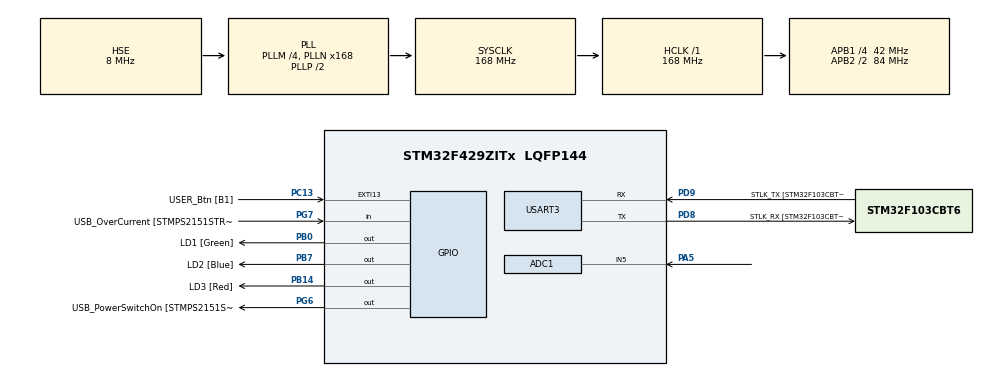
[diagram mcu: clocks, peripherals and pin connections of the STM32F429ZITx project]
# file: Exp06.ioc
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ADC1.Channel-3\#ChannelRegularConversion=ADC_CHANNEL_5
ADC1.NbrOfConversionFlag=1
ADC1.Rank-3\#ChannelRegularConversion=1
ADC1.SamplingTime-3\#ChannelRegularConversion=ADC_SAMPLETIME_3CYCLES
ADC1.master=1
Mcu.Family=STM32F4
Mcu.Name=STM32F429ZITx
Mcu.Package=LQFP144
NVIC.ADC_IRQn=true\:0\:0\:false\:false\:true\:true\:true
NVIC.PriorityGroup=NVIC_PRIORITYGROUP_4
NVIC.USART3_IRQn=true\:1\:0\:true\:false\:true\:true\:true
PA1.GPIO_Label=RMII_REF_CLK [LAN8742A-CZ-TR_REFCLK0]
PA1.Signal=ETH_REF_CLK
PA10.GPIO_Label=USB_ID
PA10.Signal=USB_OTG_FS_ID
PA11.GPIO_Label=USB_DM
PA11.Signal=USB_OTG_FS_DM
PA12.GPIO_Label=USB_DP
PA12.Signal=USB_OTG_FS_DP
PA13.GPIO_Label=TMS
PA13.Mode=Serial_Wire
PA13.Signal=SYS_JTMS-SWDIO
PA14.GPIO_Label=TCK
PA14.Mode=Serial_Wire
PA14.Signal=SYS_JTCK-SWCLK
PA2.GPIO_Label=RMII_MDIO [LAN8742A-CZ-TR_MDIO]
PA2.Signal=ETH_MDIO
PA5.Signal=ADCx_IN5
PA7.GPIO_Label=RMII_CRS_DV [LAN8742A-CZ-TR_CRS_DV]
PA7.Signal=ETH_CRS_DV
PA8.GPIO_Label=USB_SOF [TP1]
PA8.Signal=USB_OTG_FS_SOF
PA9.GPIO_Label=USB_VBUS
PA9.Signal=USB_OTG_FS_VBUS
PB0.GPIO_Label=LD1 [Green]
PB0.Signal=GPIO_Output
PB13.GPIO_Label=RMII_TXD1 [LAN8742A-CZ-TR_TXD1]
PB13.Signal=ETH_TXD1
PB14.GPIO_Label=LD3 [Red]
PB14.Signal=GPIO_Output
PB7.GPIO_Label=LD2 [Blue]
PB7.Signal=GPIO_Output
PC1.GPIO_Label=RMII_MDC [LAN8742A-CZ-TR_MDC]
PC1.Signal=ETH_MDC
PC13.GPIO_Label=USER_Btn [B1]
PC13.Signal=GPXTI13
PC14/OSC32_IN.Mode=LSE-External-Oscillator
PC14/OSC32_IN.Signal=RCC_OSC32_IN
PC15/OSC32_OUT.Mode=LSE-External-Oscillator
PC15/OSC32_OUT.Signal=RCC_OSC32_OUT
PC4.GPIO_Label=RMII_RXD0 [LAN8742A-CZ-TR_RXD0]
PC4.Signal=ETH_RXD0
PC5.GPIO_Label=RMII_RXD1 [LAN8742A-CZ-TR_RXD1]
PC5.Signal=ETH_RXD1
PD8.GPIO_Label=STLK_RX [STM32F103CBT6_PA3]
PD8.Mode=Asynchronous
PD8.Signal=USART3_TX
PD9.GPIO_Label=STLK_TX [STM32F103CBT6_PA2]
PD9.Mode=Asynchronous
PD9.Signal=USART3_RX
PG11.GPIO_Label=RMII_TX_EN [LAN8742A-CZ-TR_TXEN]
PG11.Signal=ETH_TX_EN
PG13.GPIO_Label=RMII_TXD0 [LAN8742A-CZ-TR_TXD0]
PG13.Signal=ETH_TXD0
PG6.GPIO_Label=USB_PowerSwitchOn [STMPS2151STR_EN]
PG6.Signal=GPIO_Output
PG7.GPIO_Label=USB_OverCurrent [STMPS2151STR_FAULT]
PG7.Signal=GPIO_Input
PH0/OSC_IN.GPIO_Label=MCO [STM32F103CBT6_PA8]
PH0/OSC_IN.Mode=HSE-External-Clock-Source
PH0/OSC_IN.Signal=RCC_OSC_IN
PH1/OSC_OUT.Mode=HSE-External-Clock-Source
PH1/OSC_OUT.Signal=RCC_OSC_OUT
ProjectManager.HeapSize=0x200
ProjectManager.StackSize=0x400
ProjectManager.TargetToolchain=MDK-ARM V5.27
RCC.48MHZClocksFreq_Value=48000000
RCC.AHBFreq_Value=168000000
RCC.APB1CLKDivider=RCC_HCLK_DIV4
RCC.APB1Freq_Value=42000000
RCC.APB1TimFreq_Value=84000000
RCC.APB2CLKDivider=RCC_HCLK_DIV2
RCC.APB2Freq_Value=84000000
RCC.APB2TimCLKDivider=2
RCC.APB2TimFreq_Value=168000000
RCC.CortexFreq_Value=168000000
RCC.HCLKFreq_Value=168000000
RCC.HSE_VALUE=8000000
RCC.HSI_VALUE=16000000
RCC.PLLM=4
RCC.PLLMUL=RCC_PLL_MUL9
RCC.PLLN=168
RCC.PLLQ=7
RCC.PLLSourceVirtual=RCC_PLLSOURCE_HSE
RCC.PRESCALERUSB=RCC_USBCLKSOURCE_PLL_DIV1_5
RCC.SYSCLKFreq_VALUE=168000000
RCC.SYSCLKSource=RCC_SYSCLKSOURCE_PLLCLK
RCC.SYSCLKSourceVirtual=RCC_SYSCLKSOURCE_PLLCLK
RCC.USBFreq_Value=48000000
RCC.VCOOutputFreq_Value=336000000
SH.ADCx_IN5.0=ADC1_IN5,IN5
USART3.VirtualMode=VM_ASYNC
board=NUCLEO-F429ZI

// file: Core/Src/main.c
/* USER CODE BEGIN Header */
/**
  ******************************************************************************
  * @file           : main.c
  * @brief          : Main program body
  ******************************************************************************
  * @attention
  *
  * <h2><center>&copy; Copyright (c) 2021 STMicroelectronics.
  * All rights reserved.</center></h2>
  *
  * This software component is licensed by ST under BSD 3-Clause license,
  * the "License"; You may not use this file except in compliance with the
  * License. You may obtain a copy of the License at:
  *                        opensource.org/licenses/BSD-3-Clause
  *
  ******************************************************************************
  */
/* USER CODE END Header */
#include "main.h"
#include "adc.h"
#include "usart.h"
#include "gpio.h"

/* USER CODE BEGIN PV */
uint16_t pa5_val;
uint16_t vrefint;
uint16_t ind;
uint16_t buffer[2000];

/* USER CODE END PV */

void SystemClock_Config(void);

int main(void)
{

  /* MCU Configuration--------------------------------------------------------*/

  /* Reset of all peripherals, Initializes the Flash interface and the Systick. */
  HAL_Init();

  /* Configure the system clock */
  SystemClock_Config();

  /* Initialize all configured peripherals */
  MX_GPIO_Init();
  MX_ADC1_Init();
  MX_USART3_UART_Init();
  /* USER CODE BEGIN 2 */

	//Enable UART and RX interrupt
	USART3->CR1 |= USART_CR1_UE;
	USART3->CR1 |= USART_CR1_RXNEIE;
	USART3->CR1 &= ~USART_CR1_TCIE;

	//Enable temperature sensor and VrefINT
	ADC->CCR |= ADC_CCR_TSVREFE;

	//Turn on ADC
	ADC1->CR2 |= ADC_CR2_ADON;

	//Select 1 conversions for each sequence
	ADC1->SQR1 = 0;

	//Select channel 5 (PA5)
	ADC1->SQR3 = 0x0;
	ADC1->SQR3 |= ADC_SQR3_SQ1_0;
	ADC1->SQR3 |= ADC_SQR3_SQ1_2;

	//Select channel 17 (vrefint)
	ADC1->SQR3 |= ADC_SQR3_SQ2_4;
	ADC1->SQR3 |= ADC_SQR3_SQ2_0;

	//Set EOC flag at the end of each conversion
	ADC1->CR2 |= ADC_CR2_EOCS;

	//Enable ADC interrupt
	ADC1->CR1 |= ADC_CR1_EOCIE;
	ADC1->CR1 |= ADC_CR1_OVRIE;

	//Turn on scan mode
	ADC1->CR1 |= ADC_CR1_SCAN;

	//Start conversion

  /* USER CODE END 2 */

  /* Infinite loop */
  while (1)
  {

  }
}

void SystemClock_Config(void)
{
  RCC_OscInitTypeDef RCC_OscInitStruct = {0};
  RCC_ClkInitTypeDef RCC_ClkInitStruct = {0};

  /** Configure the main internal regulator output voltage
  */
  __HAL_RCC_PWR_CLK_ENABLE();
  __HAL_PWR_VOLTAGESCALING_CONFIG(PWR_REGULATOR_VOLTAGE_SCALE1);
  /** Initializes the RCC Oscillators according to the specified parameters
  * in the RCC_OscInitTypeDef structure.
  */
  RCC_OscInitStruct.OscillatorType = RCC_OSCILLATORTYPE_HSE;
  RCC_OscInitStruct.HSEState = RCC_HSE_BYPASS;
  RCC_OscInitStruct.PLL.PLLState = RCC_PLL_ON;
  RCC_OscInitStruct.PLL.PLLSource = RCC_PLLSOURCE_HSE;
  RCC_OscInitStruct.PLL.PLLM = 4;
  RCC_OscInitStruct.PLL.PLLN = 168;
  RCC_OscInitStruct.PLL.PLLP = RCC_PLLP_DIV2;
  RCC_OscInitStruct.PLL.PLLQ = 7;
  if (HAL_RCC_OscConfig(&RCC_OscInitStruct) != HAL_OK)
  {
    Error_Handler();
  }
  /** Initializes the CPU, AHB and APB buses clocks
  */
  RCC_ClkInitStruct.ClockType = RCC_CLOCKTYPE_HCLK|RCC_CLOCKTYPE_SYSCLK
                              |RCC_CLOCKTYPE_PCLK1|RCC_CLOCKTYPE_PCLK2;
  RCC_ClkInitStruct.SYSCLKSource = RCC_SYSCLKSOURCE_PLLCLK;
  RCC_ClkInitStruct.AHBCLKDivider = RCC_SYSCLK_DIV1;
  RCC_ClkInitStruct.APB1CLKDivider = RCC_HCLK_DIV4;
  RCC_ClkInitStruct.APB2CLKDivider = RCC_HCLK_DIV2;

  if (HAL_RCC_ClockConfig(&RCC_ClkInitStruct, FLASH_LATENCY_5) != HAL_OK)
  {
    Error_Handler();
  }
}

void Error_Handler(void)
{
  __disable_irq();
  while (1)
  {
  }
}

/************************ (C) COPYRIGHT STMicroelectronics *****END OF FILE****/
